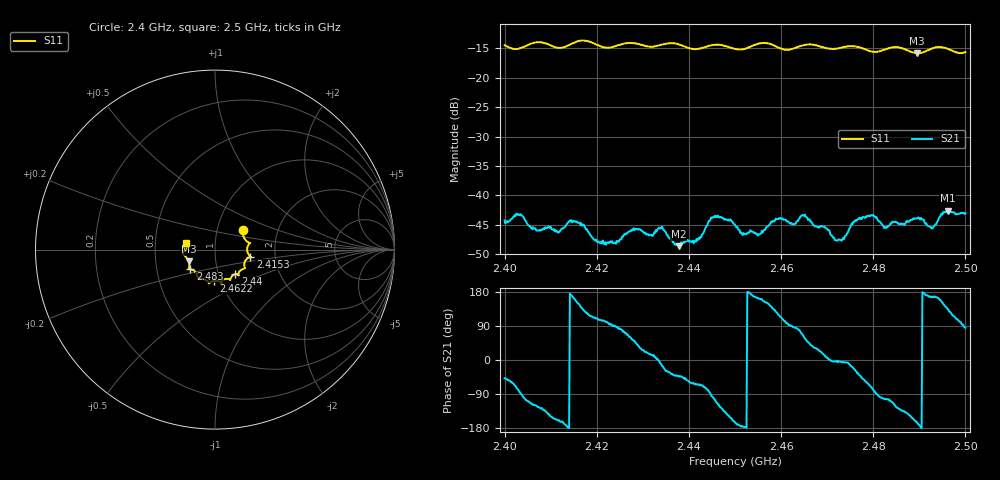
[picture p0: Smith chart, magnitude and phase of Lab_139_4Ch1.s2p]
# Hz S RI R 50
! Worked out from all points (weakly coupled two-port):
!   601 points, 2.4 GHz to 2.5 GHz, reference 50 ohm
!   highest |S21| = -42.60 dB at 2.4962 GHz (marker M1); lowest = -48.6 dB at 2.4378 GHz (marker M2)
!   lowest |S11| = -15.9 dB at 2.4895 GHz (marker M3), VSWR 1.38, Z = 36.9 - j5.01 ohm
!   |S11| at or under -10 dB: start of sweep to end of sweep
!   S12 and S22 are empty: the file has one direction only
!   S11 on the Smith chart (normalised r, x): 2.4 GHz: 1.33, +0.29; 2.4153 GHz: 1.48, -0.12; 2.44 GHz: 1.20, -0.34; 2.4622 GHz: 0.93, -0.33; 2.483 GHz: 0.74, -0.17; 2.5 GHz: 0.72, +0.06
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2.4e9  0.1553 0.1066  0.0041 -0.00459  0 0  0 0
2.403e9  0.1652 0.0598  0.00124 -0.00675  0 0  0 0
2.4115e9  0.1791 0.00653  -0.0046 -0.00173  0 0  0 0
2.415333e9  0.1964 -0.0387  -0.00557 0.00213  0 0  0 0
2.416667e9  0.2019 -0.0428  -0.0043 0.00387  0 0  0 0
2.421667e9  0.1698 -0.0608  -0.000861 0.00376  0 0  0 0
2.433333e9  0.1311 -0.1334  0.00523 -7.55e-05  0 0  0 0
2.437833e9  0.1295 -0.1408  0.00275 -0.00249  0 0  0 0
2.44e9  0.114 -0.1368  0.00225 -0.00338  0 0  0 0
2.445333e9  0.0846 -0.1696  -0.00122 -0.0064  0 0  0 0
2.45e9  0.0646 -0.163  -0.00543 -0.00151  0 0  0 0
2.455167e9  0.0365 -0.191  -0.00444 0.00141  0 0  0 0
2.462167e9  -0.00738 -0.1739  2.14e-05 0.00584  0 0  0 0
2.466667e9  -0.0343 -0.1877  0.00463 0.00364  0 0  0 0
2.472167e9  -0.0716 -0.1613  0.00411 -0.000402  0 0  0 0
2.479e9  -0.1035 -0.1339  0.00297 -0.00605  0 0  0 0
2.483e9  -0.1376 -0.1095  -0.00126 -0.00532  0 0  0 0
2.483333e9  -0.1401 -0.1092  -0.00129 -0.00533  0 0  0 0
2.4895e9  -0.1465 -0.066  -0.00613 -0.00173  0 0  0 0
2.492833e9  -0.1749 -0.0284  -0.00509 0.00131  0 0  0 0
2.496167e9  -0.175 -0.0137  -0.00518 0.0053  0 0  0 0
2.5e9  -0.1597 0.0392  0.000626 0.00704  0 0  0 0
